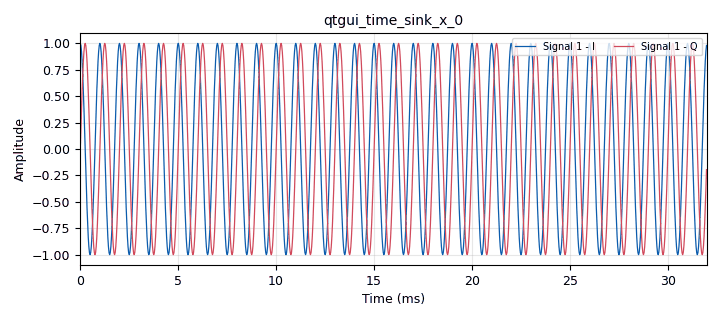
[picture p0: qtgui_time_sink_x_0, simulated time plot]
options:
  parameters:
    generate_options: qt_gui
    id: ex1_03
    output_language: python
    title: Figure 1.8 Complex signal
  states: {}

blocks:
- name: samp_rate
  id: variable
  parameters:
    value: '32000'
  states: {}
- name: analog_sig_source_x_0
  id: analog_sig_source_x
  parameters:
    amp: '1'
    freq: '1000'
    offset: '0'
    phase: '0'
    samp_rate: samp_rate
    type: complex
    waveform: analog.GR_COS_WAVE
  states: {}
- name: blocks_throttle2_0
  id: blocks_throttle2
  parameters:
    comment: slow down the scheduler
    samples_per_second: samp_rate
    type: complex
  states: {}
- name: qtgui_time_sink_x_0
  id: qtgui_time_sink_x
  parameters:
    autoscale: 'True'
    label1: Signal 1 - I
    label2: Signal 1 - Q
    size: '1024'
    srate: samp_rate
    type: complex
  states: {}

connections:
- [analog_sig_source_x_0, '0', blocks_throttle2_0, '0']
- [blocks_throttle2_0, '0', qtgui_time_sink_x_0, '0']

metadata:
  file_format: 1
  grc_version: 3.10.9.2
